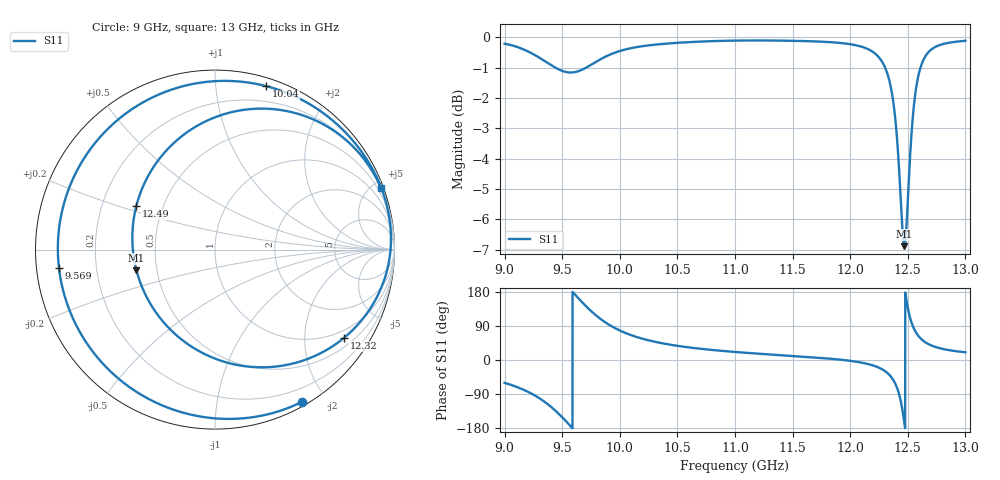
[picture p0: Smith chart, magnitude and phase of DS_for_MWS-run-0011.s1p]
! TOUCHSTONE file generated by CST DESIGN STUDIO
! Date and time: Tue Feb  4 12:51:41 2025
! Project name: C:\Work\MatlabApps\UnitCellOptimizationMatlab\CST\unitcell.cst
! Tree item: Tasks\Sweep1\SPara1\S-Parameters
! Header version: 2024
! Port assignment regex: !\s*Touchstone port\s*([0-9]+)\s*=\s*(CST MWS port|CST DES external port|CST DES block port)\s*(.+)\s* \(\"(.*)\"\)(\s*mode\s*([0-9]+))?.*
! Touchstone port assignment:
! Touchstone port 1 = CST DES external port 1 ("")
# GHz S MA R 50
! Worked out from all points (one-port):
!   4001 points, 9 GHz to 13 GHz, reference 50 ohm
!   lowest |S11| = -6.9 dB at 12.47 GHz (marker M1), VSWR 2.65, Z = 19.1 - j5.56 ohm
!   |S11| at or under -10 dB: nowhere
!   S11 on the Smith chart (normalised r, x): 9 GHz: 0.05, -1.72; 9.569 GHz: 0.07, -0.06; 10.04 GHz: 0.07, +1.36; 12.32 GHz: 0.75, -3.07; 12.49 GHz: 0.35, +0.23; 13 GHz: 0.20, +5.54
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9  0.9767 -60.3
9.303  0.9257 -101.1
9.405  0.9 -124.1
9.5  0.8808 -151.1
9.569  0.8753 -173.3
9.662  0.8829 155.9
9.778  0.908 121.7
10  0.9498 77.9
10.039  0.9544 72.6
10.238  0.9698 52.8
10.5  0.9798 37.4
11  0.9881 21.2
11.5  0.9874 10.7
12  0.9748 -2.2
12.212  0.942 -15.7
12.323  0.8713 -34.3
12.371  0.7904 -51.3
12.414  0.6517 -79.8
12.441  0.5311 -111.5
12.47  0.4526 -165.2
12.492  0.5014 150.9
12.5  0.5373 137.5
12.527  0.6702 103.8
12.556  0.7815 81.1
12.603  0.8822 59.6
12.66  0.9355 45.4
12.782  0.9723 30.8
13  0.9876 20.4
